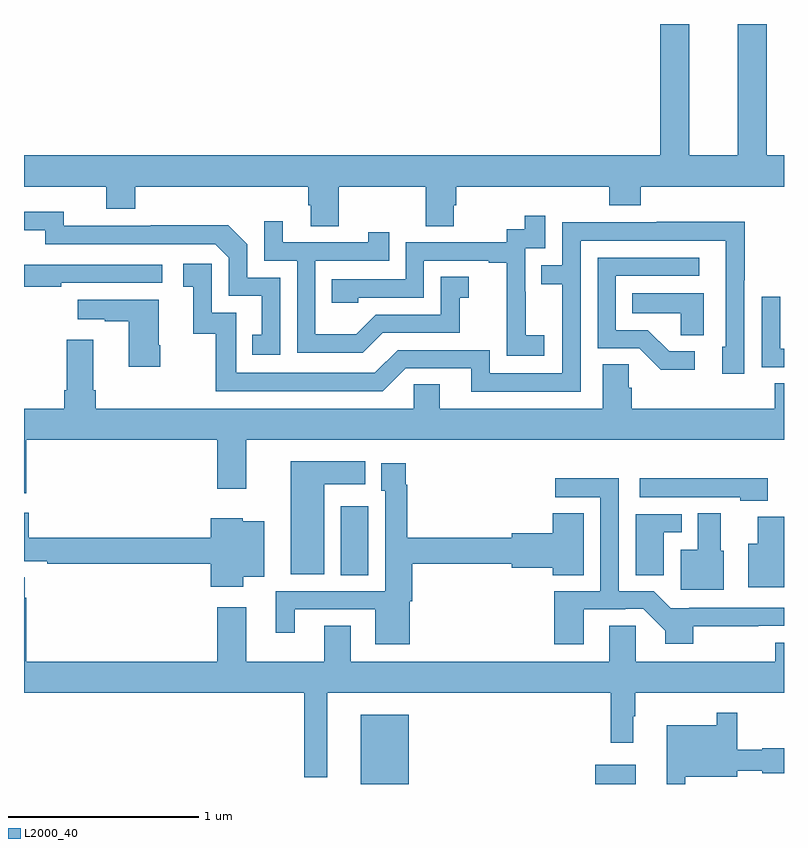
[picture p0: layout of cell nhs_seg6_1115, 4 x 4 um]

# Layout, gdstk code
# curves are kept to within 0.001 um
import gdstk
lib = gdstk.Library(unit=1e-6, precision=1e-09)
def R(c, l, rs):  # rectangles x0, y0, x1, y1
    for r in rs: c.add(gdstk.rectangle(r[:2], r[2:], *l))
def P(c, l, *ps):  # polygons
    for p in ps: c.add(gdstk.Polygon(p, *l))
L2000_40 = (2000, 40)

nhs_seg6_1115 = lib.new_cell('nhs_seg6_1115')
R(nhs_seg6_1115, L2000_40, [(180.773,969.5,181.024,969.865), (182.006,969.5,182.221,969.601), (180.668,970.6,180.811,970.963)])
P(nhs_seg6_1115, L2000_40, [(180.657,972.644),(181.114,972.644),(181.114,972.436),(181.261,972.436),(181.261,972.546),(181.274,972.546),(181.274,972.644),(182.081,972.644),(182.081,972.545),(182.246,972.545),(182.246,972.644),(183,972.644),(183,972.808),(182.909,972.808),(182.909,973.5),(182.756,973.5),(182.756,972.808),(182.5,972.808),(182.5,973.5),(182.348,973.5),(182.348,972.808),(179,972.808),(179,972.644),(179.432,972.644),(179.432,972.527),(179.585,972.527),(179.585,972.644),(180.497,972.644),(180.497,972.546),(180.509,972.546),(180.509,972.436),(180.657,972.436)],
  [(180.348,972.165),(180.174,972.165),(180.174,972.342),(180.076,972.44),(179.668,972.44),(179.668,972.438),(179.208,972.438),(179.208,972.511),(179,972.511),(179,972.414),(179.112,972.414),(179.112,972.342),(180.006,972.342),(180.078,972.27),(180.078,972.069),(180.251,972.069),(180.251,971.865),(180.202,971.865),(180.202,971.76),(180.348,971.76)],
  [(181.738,971.863),(181.64,971.863),(181.64,972.092),(181.638,972.092),(181.638,972.321),(181.743,972.321),(181.743,972.49),(181.635,972.49),(181.635,972.42),(181.542,972.42),(181.542,972.351),(181.008,972.351),(181.008,972.156),(180.619,972.156),(180.619,972.033),(180.759,972.033),(180.759,972.06),(181.104,972.06),(181.104,972.255),(181.445,972.255),(181.445,972.243),(181.541,972.243),(181.541,971.959),(181.54,971.959),(181.54,971.753),(181.738,971.753)],
  [(180.889,971.874),(181.293,971.874),(181.293,972.059),(181.342,972.059),(181.342,972.169),(181.194,972.169),(181.194,971.97),(180.852,971.97),(180.748,971.866),(180.534,971.866),(180.534,972.255),(180.923,972.255),(180.923,972.403),(180.812,972.403),(180.812,972.351),(180.361,972.351),(180.361,972.463),(180.264,972.463),(180.264,972.255),(180.438,972.255),(180.438,971.769),(180.784,971.769)],
  [(181.929,972.36),(182.694,972.36),(182.694,971.802),(182.675,971.802),(182.675,971.658),(182.79,971.658),(182.79,972.151),(182.793,972.151),(182.793,972.458),(182.329,972.458),(182.329,972.456),(181.833,972.456),(181.833,972.231),(181.723,972.231),(181.723,972.13),(181.833,972.13),(181.833,971.661),(181.452,971.661),(181.452,971.784),(180.966,971.784),(180.846,971.664),(180.117,971.664),(180.117,971.979),(179.988,971.979),(179.988,972.238),(179.838,972.238),(179.838,972.117),(179.891,972.117),(179.891,971.871),(180.009,971.871),(180.009,971.568),(180.888,971.568),(181.008,971.688),(181.355,971.688),(181.355,971.565),(181.929,971.565)],
  [(182.53,971.778),(182.395,971.778),(182.284,971.889),(182.115,971.889),(182.115,972.174),(182.554,972.174),(182.554,972.27),(182.019,972.27),(182.019,971.793),(182.238,971.793),(182.351,971.681),(182.53,971.681)],
  [(179.195,972.138),(179.728,972.138),(179.728,972.234),(179,972.234),(179,972.118),(179.195,972.118)],
  [(182.578,972.082),(182.2,972.082),(182.2,971.978),(182.457,971.978),(182.457,971.863),(182.578,971.863)],
  [(183,971.79),(182.979,971.79),(182.979,972.064),(182.883,972.064),(182.883,971.694),(183,971.694)],
  [(179.718,971.809),(179.71,971.809),(179.71,972.049),(179.283,972.049),(179.283,971.945),(179.426,971.945),(179.426,971.935),(179.552,971.935),(179.552,971.697),(179.718,971.697)],
  [(179.011,971.312),(180.017,971.312),(180.017,971.055),(180.169,971.055),(180.169,971.312),(183,971.312),(183,971.609),(182.951,971.609),(182.951,971.476),(182.198,971.476),(182.198,971.585),(182.184,971.585),(182.184,971.708),(182.045,971.708),(182.045,971.476),(181.189,971.476),(181.189,971.603),(181.05,971.603),(181.05,971.476),(179.378,971.476),(179.378,971.572),(179.365,971.572),(179.365,971.839),(179.225,971.839),(179.225,971.572),(179.213,971.572),(179.213,971.476),(179,971.476),(179,971.031),(179.011,971.031)],
  [(180.58,971.078),(180.796,971.078),(180.796,971.2),(180.404,971.2),(180.404,970.604),(180.58,970.604)],
  [(181.03,970.461),(181.043,970.461),(181.043,970.66),(181.568,970.66),(181.568,970.637),(181.784,970.637),(181.784,970.6),(181.945,970.6),(181.945,970.925),(181.784,970.925),(181.784,970.82),(181.568,970.82),(181.568,970.796),(181.016,970.796),(181.016,971.075),(181.009,971.075),(181.009,971.188),(180.881,971.188),(180.881,971.043),(180.9,971.043),(180.9,970.515),(180.326,970.515),(180.326,970.296),(180.424,970.296),(180.424,970.419),(180.848,970.419),(180.848,970.235),(181.03,970.235)],
  [(182.914,971.11),(182.241,971.11),(182.241,971.009),(182.769,971.009),(182.769,970.991),(182.914,970.991)],
  [(181.945,970.419),(182.165,970.419),(182.165,970.422),(182.259,970.422),(182.375,970.306),(182.375,970.238),(182.523,970.238),(182.523,970.331),(183,970.332),(183,970.428),(182.5,970.428),(182.5,970.425),(182.404,970.425),(182.314,970.515),(182.13,970.515),(182.13,971.108),(181.797,971.108),(181.797,971.01),(182.034,971.01),(182.034,970.515),(181.79,970.515),(181.79,970.236),(181.945,970.236)],
  [(180.154,970.592),(180.265,970.592),(180.265,970.882),(180.15,970.882),(180.15,970.9),(179.984,970.9),(179.984,970.796),(179.026,970.796),(179.026,970.927),(179,970.927),(179,970.673),(179.122,970.673),(179.122,970.66),(179.984,970.66),(179.984,970.538),(180.154,970.538)],
  [(182.683,970.728),(182.668,970.728),(182.668,970.924),(182.546,970.924),(182.546,970.732),(182.456,970.732),(182.456,970.523),(182.683,970.523)],
  [(182.368,970.824),(182.461,970.824),(182.461,970.92),(182.219,970.92),(182.219,970.6),(182.368,970.6)],
  [(183,970.906),(182.861,970.906),(182.861,970.765),(182.813,970.765),(182.813,970.535),(183,970.535)],
  [(180.595,969.98),(182.089,969.98),(182.089,969.717),(182.206,969.717),(182.206,969.857),(182.218,969.857),(182.218,969.98),(183,969.98),(183,970.243),(182.953,970.243),(182.953,970.144),(182.22,970.144),(182.22,970.334),(182.081,970.334),(182.081,970.144),(180.721,970.144),(180.721,970.334),(180.581,970.334),(180.581,970.144),(180.169,970.144),(180.169,970.429),(180.017,970.429),(180.017,970.144),(179.011,970.144),(179.011,970.481),(179.004,970.481),(179.004,970.588),(179,970.588),(179,969.98),(180.474,969.98),(180.474,969.536),(180.595,969.536)],
  [(182.481,969.539),(182.755,969.539),(182.755,969.57),(182.886,969.57),(182.886,969.557),(183,969.557),(183,969.687),(182.886,969.687),(182.886,969.679),(182.755,969.679),(182.755,969.874),(182.646,969.874),(182.646,969.808),(182.384,969.808),(182.384,969.5),(182.481,969.5)])

lib.write_gds('nhs_seg6_1115.gds')
